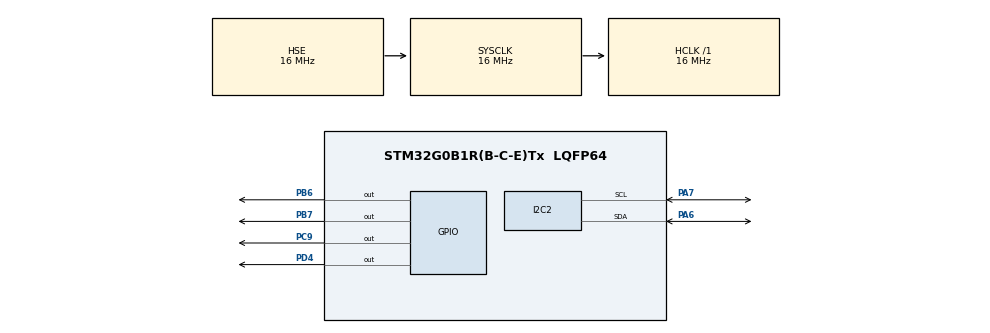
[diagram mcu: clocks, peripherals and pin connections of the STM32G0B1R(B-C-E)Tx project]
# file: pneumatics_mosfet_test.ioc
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I2C2.Timing=0x00503D58
Mcu.Family=STM32G0
Mcu.Name=STM32G0B1R(B-C-E)Tx
Mcu.Package=LQFP64
PA13.Mode=Serial_Wire
PA13.Signal=SYS_SWDIO
PA14-BOOT0.Mode=Serial_Wire
PA14-BOOT0.Signal=SYS_SWCLK
PA6.Mode=I2C
PA6.Signal=I2C2_SDA
PA7.Mode=I2C
PA7.Signal=I2C2_SCL
PB6.Signal=GPIO_Output
PB7.Signal=GPIO_Output
PC9.Signal=GPIO_Output
PD4.Signal=GPIO_Output
PF0-OSC_IN\ (PF0).Mode=HSE-External-Oscillator
PF0-OSC_IN\ (PF0).Signal=RCC_OSC_IN
PF1-OSC_OUT\ (PF1).Mode=HSE-External-Oscillator
PF1-OSC_OUT\ (PF1).Signal=RCC_OSC_OUT
ProjectManager.HeapSize=0x200
ProjectManager.StackSize=0x400
ProjectManager.TargetToolchain=STM32CubeIDE
RCC.AHBFreq_Value=16000000
RCC.CortexFreq_Value=16000000
RCC.EXTERNAL_CLOCK_VALUE=48000
RCC.HCLKFreq_Value=16000000
RCC.HSE_VALUE=16000000
RCC.HSI48_VALUE=48000000
RCC.HSI_VALUE=16000000
RCC.LSE_VALUE=32768
RCC.PLLSourceVirtual=RCC_PLLSOURCE_HSE
RCC.SYSCLKFreq_VALUE=16000000
RCC.SYSCLKSource=RCC_SYSCLKSOURCE_HSE
RCC.USBFreq_Value=48000000
RCC.VCOOutputFreq_Value=128000000
VP_SYS_VS_DBSignals.Mode=DisableDeadBatterySignals
board=custom

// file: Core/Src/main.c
/* USER CODE BEGIN Header */
/**
  ******************************************************************************
  * @file           : main.c
  * @brief          : Main program body
  ******************************************************************************
  * @attention
  *
  * Copyright (c) 2026 STMicroelectronics.
  * All rights reserved.
  *
  * This software is licensed under terms that can be found in the LICENSE file
  * in the root directory of this software component.
  * If no LICENSE file comes with this software, it is provided AS-IS.
  *
  ******************************************************************************
  */
/* USER CODE END Header */
#include "main.h"

I2C_HandleTypeDef hi2c2;

void SystemClock_Config(void);
static void MX_GPIO_Init(void);
static void MX_I2C2_Init(void);

int main(void)
{

  /* MCU Configuration--------------------------------------------------------*/

  /* Reset of all peripherals, Initializes the Flash interface and the Systick. */
  HAL_Init();

  /* Configure the system clock */
  SystemClock_Config();

  /* Initialize all configured peripherals */
  MX_GPIO_Init();
  MX_I2C2_Init();

  /* Infinite loop */
  /* USER CODE BEGIN WHILE */
  while (1)
  {
	 //TEST 1: TURN ON THE MOSFETS 1 TO 4 (RIGHTMOST TO LEFET MOST)
	  //SET -> 1 and RESET -> 0
	  // 1st Mosfet
	  HAL_GPIO_WritePin(GPIOC, GPIO_PIN_9, SET);
	  HAL_Delay(500);
	  HAL_GPIO_WritePin(GPIOC, GPIO_PIN_9, RESET);
	  HAL_Delay(500);
	  // 2nd mosfet
	  HAL_GPIO_WritePin(GPIOD, GPIO_PIN_4, SET);
	  HAL_Delay(500);
	  HAL_GPIO_WritePin(GPIOD, GPIO_PIN_4, RESET);
	  HAL_Delay(500);
	  //3rd Mosfet
	  HAL_GPIO_WritePin(GPIOB, GPIO_PIN_6, SET);
	  HAL_Delay(500);
	  HAL_GPIO_WritePin(GPIOB, GPIO_PIN_6, RESET);
	  HAL_Delay(500);
	  //4th Mosfet
	  HAL_GPIO_WritePin(GPIOB, GPIO_PIN_7, SET);
	  HAL_Delay(500);
	  HAL_GPIO_WritePin(GPIOB, GPIO_PIN_7, RESET);
	  HAL_Delay(500);
	 //END TEST 1

	  //TEST 2: TURN ON RIGHT AND LEFT MOST MOSFETS AT THE SAME TIME AND STAY ON
//	  HAL_GPIO_WritePin(GPIOC, GPIO_PIN_9, SET);
//	  HAL_GPIO_WritePin(GPIOB, GPIO_PIN_7, SET);
//	  HAL_Delay(30000); // on for half a second
//	  HAL_GPIO_WritePin(GPIOC, GPIO_PIN_9, RESET);
//	  HAL_GPIO_WritePin(GPIOB, GPIO_PIN_7, RESET);
	  //END TEST 2
    /* USER CODE END WHILE */

  }
}

void SystemClock_Config(void)
{
  RCC_OscInitTypeDef RCC_OscInitStruct = {0};
  RCC_ClkInitTypeDef RCC_ClkInitStruct = {0};

  /** Configure the main internal regulator output voltage
  */
  HAL_PWREx_ControlVoltageScaling(PWR_REGULATOR_VOLTAGE_SCALE1);

  /** Initializes the RCC Oscillators according to the specified parameters
  * in the RCC_OscInitTypeDef structure.
  */
  RCC_OscInitStruct.OscillatorType = RCC_OSCILLATORTYPE_HSE;
  RCC_OscInitStruct.HSEState = RCC_HSE_ON;
  RCC_OscInitStruct.PLL.PLLState = RCC_PLL_NONE;
  if (HAL_RCC_OscConfig(&RCC_OscInitStruct) != HAL_OK)
  {
    Error_Handler();
  }

  /** Initializes the CPU, AHB and APB buses clocks
  */
  RCC_ClkInitStruct.ClockType = RCC_CLOCKTYPE_HCLK|RCC_CLOCKTYPE_SYSCLK
                              |RCC_CLOCKTYPE_PCLK1;
  RCC_ClkInitStruct.SYSCLKSource = RCC_SYSCLKSOURCE_HSE;
  RCC_ClkInitStruct.AHBCLKDivider = RCC_SYSCLK_DIV1;
  RCC_ClkInitStruct.APB1CLKDivider = RCC_HCLK_DIV1;

  if (HAL_RCC_ClockConfig(&RCC_ClkInitStruct, FLASH_LATENCY_0) != HAL_OK)
  {
    Error_Handler();
  }
}

static void MX_I2C2_Init(void)
{

  hi2c2.Instance = I2C2;
  hi2c2.Init.Timing = 0x00503D58;
  hi2c2.Init.OwnAddress1 = 0;
  hi2c2.Init.AddressingMode = I2C_ADDRESSINGMODE_7BIT;
  hi2c2.Init.DualAddressMode = I2C_DUALADDRESS_DISABLE;
  hi2c2.Init.OwnAddress2 = 0;
  hi2c2.Init.OwnAddress2Masks = I2C_OA2_NOMASK;
  hi2c2.Init.GeneralCallMode = I2C_GENERALCALL_DISABLE;
  hi2c2.Init.NoStretchMode = I2C_NOSTRETCH_DISABLE;
  if (HAL_I2C_Init(&hi2c2) != HAL_OK)
  {
    Error_Handler();
  }

  /** Configure Analogue filter
  */
  if (HAL_I2CEx_ConfigAnalogFilter(&hi2c2, I2C_ANALOGFILTER_ENABLE) != HAL_OK)
  {
    Error_Handler();
  }

  /** Configure Digital filter
  */
  if (HAL_I2CEx_ConfigDigitalFilter(&hi2c2, 0) != HAL_OK)
  {
    Error_Handler();
  }

}

static void MX_GPIO_Init(void)
{
  GPIO_InitTypeDef GPIO_InitStruct = {0};

  /* GPIO Ports Clock Enable */
  __HAL_RCC_GPIOF_CLK_ENABLE();
  __HAL_RCC_GPIOA_CLK_ENABLE();
  __HAL_RCC_GPIOC_CLK_ENABLE();
  __HAL_RCC_GPIOD_CLK_ENABLE();
  __HAL_RCC_GPIOB_CLK_ENABLE();

  /*Configure GPIO pin Output Level */
  HAL_GPIO_WritePin(GPIOC, GPIO_PIN_9, GPIO_PIN_RESET);

  /*Configure GPIO pin Output Level */
  HAL_GPIO_WritePin(GPIOD, GPIO_PIN_4, GPIO_PIN_RESET);

  /*Configure GPIO pin Output Level */
  HAL_GPIO_WritePin(GPIOB, GPIO_PIN_6|GPIO_PIN_7, GPIO_PIN_RESET);

  /*Configure GPIO pin : PC9 */
  GPIO_InitStruct.Pin = GPIO_PIN_9;
  GPIO_InitStruct.Mode = GPIO_MODE_OUTPUT_PP;
  GPIO_InitStruct.Pull = GPIO_NOPULL;
  GPIO_InitStruct.Speed = GPIO_SPEED_FREQ_LOW;
  HAL_GPIO_Init(GPIOC, &GPIO_InitStruct);

  /*Configure GPIO pin : PD4 */
  GPIO_InitStruct.Pin = GPIO_PIN_4;
  GPIO_InitStruct.Mode = GPIO_MODE_OUTPUT_PP;
  GPIO_InitStruct.Pull = GPIO_NOPULL;
  GPIO_InitStruct.Speed = GPIO_SPEED_FREQ_LOW;
  HAL_GPIO_Init(GPIOD, &GPIO_InitStruct);

  /*Configure GPIO pins : PB6 PB7 */
  GPIO_InitStruct.Pin = GPIO_PIN_6|GPIO_PIN_7;
  GPIO_InitStruct.Mode = GPIO_MODE_OUTPUT_PP;
  GPIO_InitStruct.Pull = GPIO_NOPULL;
  GPIO_InitStruct.Speed = GPIO_SPEED_FREQ_LOW;
  HAL_GPIO_Init(GPIOB, &GPIO_InitStruct);

}

void Error_Handler(void)
{
  __disable_irq();
  while (1)
  {
  }
}
